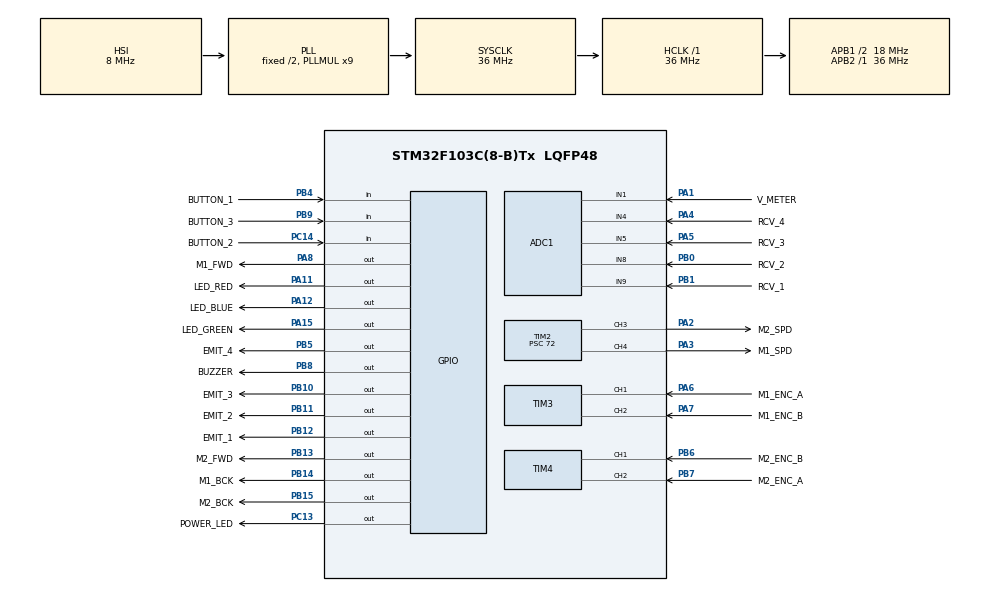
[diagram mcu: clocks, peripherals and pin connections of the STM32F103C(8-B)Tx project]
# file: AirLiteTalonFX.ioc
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ADC1.Channel-1\#ChannelRegularConversion=ADC_CHANNEL_1
ADC1.NbrOfConversionFlag=1
ADC1.Rank-1\#ChannelRegularConversion=1
ADC1.SamplingTime-1\#ChannelRegularConversion=ADC_SAMPLETIME_1CYCLE_5
ADC1.master=1
Mcu.Family=STM32F1
Mcu.Name=STM32F103C(8-B)Tx
Mcu.Package=LQFP48
NVIC.PriorityGroup=NVIC_PRIORITYGROUP_4
NVIC.TIM3_IRQn=true\:0\:0\:false\:false\:true\:true\:true\:true
NVIC.TIM4_IRQn=true\:0\:0\:false\:false\:true\:true\:true\:true
PA1.GPIO_Label=V_METER
PA1.Signal=ADCx_IN1
PA11.GPIO_Label=LED_RED
PA11.GPIO_PuPd=GPIO_PULLUP
PA11.Signal=GPIO_Output
PA12.GPIO_Label=LED_BLUE
PA12.GPIO_PuPd=GPIO_PULLUP
PA12.Signal=GPIO_Output
PA13.Mode=Serial_Wire
PA13.Signal=SYS_JTMS-SWDIO
PA14.Mode=Serial_Wire
PA14.Signal=SYS_JTCK-SWCLK
PA15.GPIO_Label=LED_GREEN
PA15.GPIO_PuPd=GPIO_PULLUP
PA15.Signal=GPIO_Output
PA2.GPIO_Label=M2_SPD
PA2.Signal=S_TIM2_CH3
PA3.GPIO_Label=M1_SPD
PA3.Signal=S_TIM2_CH4
PA4.GPIO_Label=RCV_4
PA4.Signal=ADCx_IN4
PA5.GPIO_Label=RCV_3
PA5.Signal=ADCx_IN5
PA6.GPIO_Label=M1_ENC_A
PA6.Signal=S_TIM3_CH1
PA7.GPIO_Label=M1_ENC_B
PA7.Signal=S_TIM3_CH2
PA8.GPIO_Label=M1_FWD
PA8.Signal=GPIO_Output
PB0.GPIO_Label=RCV_2
PB0.Signal=ADCx_IN8
PB1.GPIO_Label=RCV_1
PB1.Signal=ADCx_IN9
PB10.GPIO_Label=EMIT_3
PB10.Signal=GPIO_Output
PB11.GPIO_Label=EMIT_2
PB11.Signal=GPIO_Output
PB12.GPIO_Label=EMIT_1
PB12.Signal=GPIO_Output
PB13.GPIO_Label=M2_FWD
PB13.Signal=GPIO_Output
PB14.GPIO_Label=M1_BCK
PB14.Signal=GPIO_Output
PB15.GPIO_Label=M2_BCK
PB15.Signal=GPIO_Output
PB4.GPIO_Label=BUTTON_1
PB4.Signal=GPIO_Input
PB5.GPIO_Label=EMIT_4
PB5.Signal=GPIO_Output
PB6.GPIO_Label=M2_ENC_B
PB6.Signal=S_TIM4_CH1
PB7.GPIO_Label=M2_ENC_A
PB7.Signal=S_TIM4_CH2
PB8.GPIO_Label=BUZZER
PB8.Signal=GPIO_Output
PB9.GPIO_Label=BUTTON_3
PB9.Signal=GPIO_Input
PC13-TAMPER-RTC.GPIO_Label=POWER_LED
PC13-TAMPER-RTC.GPIO_PuPd=GPIO_PULLDOWN
PC13-TAMPER-RTC.Signal=GPIO_Output
PC14-OSC32_IN.GPIO_Label=BUTTON_2
PC14-OSC32_IN.Signal=GPIO_Input
ProjectManager.HeapSize=0x200
ProjectManager.StackSize=0x400
ProjectManager.TargetToolchain=STM32CubeIDE
RCC.ADCPresc=RCC_ADCPCLK2_DIV6
RCC.AHBFreq_Value=36000000
RCC.APB1CLKDivider=RCC_HCLK_DIV2
RCC.APB1Freq_Value=18000000
RCC.APB1TimFreq_Value=36000000
RCC.APB2Freq_Value=36000000
RCC.APB2TimFreq_Value=36000000
RCC.HCLKFreq_Value=36000000
RCC.PLLMUL=RCC_PLL_MUL9
RCC.SYSCLKFreq_VALUE=36000000
RCC.SYSCLKSource=RCC_SYSCLKSOURCE_PLLCLK
RCC.USBFreq_Value=36000000
SH.ADCx_IN1.0=ADC1_IN1,IN1
SH.ADCx_IN4.0=ADC1_IN4,IN4
SH.ADCx_IN5.0=ADC1_IN5,IN5
SH.ADCx_IN8.0=ADC1_IN8,IN8
SH.ADCx_IN9.0=ADC1_IN9,IN9
SH.S_TIM2_CH3.0=TIM2_CH3,PWM Generation3 CH3
SH.S_TIM2_CH4.0=TIM2_CH4,PWM Generation4 CH4
SH.S_TIM3_CH1.0=TIM3_CH1,Encoder_Interface
SH.S_TIM3_CH2.0=TIM3_CH2,Encoder_Interface
SH.S_TIM4_CH1.0=TIM4_CH1,Encoder_Interface
SH.S_TIM4_CH2.0=TIM4_CH2,Encoder_Interface
TIM2.Channel-PWM\ Generation3\ CH3=TIM_CHANNEL_3
TIM2.Channel-PWM\ Generation4\ CH4=TIM_CHANNEL_4
TIM2.Period=1000
TIM2.Prescaler=72
TIM2.Pulse-PWM\ Generation3\ CH3=1024
TIM2.Pulse-PWM\ Generation4\ CH4=1024
TIM3.EncoderMode=TIM_ENCODERMODE_TI12
TIM3.IC1Polarity=TIM_ICPOLARITY_FALLING
TIM3.IC2Polarity=TIM_ICPOLARITY_FALLING
TIM4.EncoderMode=TIM_ENCODERMODE_TI12
TIM4.IC1Polarity=TIM_ICPOLARITY_FALLING
TIM4.IC2Polarity=TIM_ICPOLARITY_FALLING
VP_TIM2_VS_ClockSourceINT.Mode=Internal
board=custom

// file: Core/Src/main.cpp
/* USER CODE BEGIN Header */
/**
  ******************************************************************************
  * @file           : main.c
  * @brief          : Main program body
  ******************************************************************************
  * @attention
  *
  * Copyright (c) 2025 STMicroelectronics.
  * All rights reserved.
  *
  * This software is licensed under terms that can be found in the LICENSE file
  * in the root directory of this software component.
  * If no LICENSE file comes with this software, it is provided AS-IS.
  *
  ******************************************************************************
  */
/* USER CODE END Header */
#include "main.h"
#include "math.h"
#include "encoders.h"
#include "motor.h"
#include "vsens.h"
#include "dsens.h"
#include "motionprofile.h"
#include "PIDFF.h"
#include "differentialdrive.h"
#include "FloodFill.h"

ADC_HandleTypeDef hadc1;

TIM_HandleTypeDef htim2;
TIM_HandleTypeDef htim3;
TIM_HandleTypeDef htim4;

/* USER CODE BEGIN PV */
Encoder leftEncoder(&htim3, false, 0.151843644924);
Encoder rightEncoder(&htim4, false, 0.151843644924);
Motor leftMotor(M1_FWD_GPIO_Port, M1_BCK_GPIO_Port, M1_FWD_Pin, M1_BCK_Pin, &TIM2->CCR4, &htim2, TIM_CHANNEL_3, false);
Motor rightMotor(M2_FWD_GPIO_Port, M2_BCK_GPIO_Port, M2_FWD_Pin, M2_BCK_Pin, &TIM2->CCR3, &htim2, TIM_CHANNEL_4, true);
VSens vsens(&hadc1, ADC_CHANNEL_1);

DSens flSens(EMIT_1_GPIO_Port, EMIT_1_Pin, &hadc1, ADC_CHANNEL_9, FL_FACTOR, FL_POW);
DSens lSens(EMIT_2_GPIO_Port, EMIT_2_Pin, &hadc1, ADC_CHANNEL_8, L_FACTOR, L_POW);
DSens rSens(EMIT_3_GPIO_Port, EMIT_3_Pin, &hadc1, ADC_CHANNEL_5, R_FACTOR, R_POW);
DSens frSens(EMIT_4_GPIO_Port, EMIT_4_Pin, &hadc1, ADC_CHANNEL_4, FR_FACTOR, FR_POW);

PIDFF centeringPID(0.005, 0, 0, 0);

PIDFF leftPIDFF(0.003, 0, LEFT_KV, LEFT_KS);
PIDFF rightPIDFF(0.003, 0, RIGHT_KV, RIGHT_KS);

DifferentialDrive diffy(50);

/* USER CODE END PV */

void SystemClock_Config(void);
static void MX_GPIO_Init(void);
static void MX_ADC1_Init(void);
static void MX_TIM4_Init(void);
static void MX_TIM3_Init(void);
static void MX_TIM2_Init(void);

/* USER CODE BEGIN 0 */

void HAL_TIM_IC_CaptureCallback(TIM_HandleTypeDef *htim) {
	uint32_t currentCount = __HAL_TIM_GET_COUNTER(htim);
	leftEncoder.callback(htim, currentCount);
	rightEncoder.callback(htim, currentCount);
}

uint32_t lastTick = 0;
uint32_t curTick = 0;
uint32_t rawStartTick = 0;
uint32_t rawCurTick = 0;
uint32_t dt = 0;

float lastTheta = 0;
float theta = 0;

//float spedL[1000];
//float spedR[1000];
uint64_t ticks = 0;

MotionProfileState nextState = {0};

typedef enum {
	STOP,
	DFORWARD,
	DLEFT,
	DRIGHT,
	DSFORWARD,
	DUTURN
} Action;

typedef struct {
	float velo;
	float thetaVelo;
	bool complete;
	bool useWallCorrection;
} DiffyState;

typedef struct {
    int x = 0;
    int y = 0;
} Position;

bool forwardOneBoxInit = true;
float forwardOneBoxLPos = 0;
float forwardOneBoxRPos = 0;

MapNode race_map[MAP_SIZE][MAP_SIZE];

Position last_position = Position();
Position position =  Position();
Orientation orientation = NORTH;

DiffyState forwardOneBox(uint32_t dt) {
	if (forwardOneBoxInit) {
		forwardOneBoxLPos = leftEncoder.getPositionMeters();
		forwardOneBoxRPos = rightEncoder.getPositionMeters();

		last_position = position;

		switch (orientation) {
			case NORTH:
				position.y++;
				break;
			case EAST:
				position.x++;
				break;
			case SOUTH:
				position.y--;
				break;
			case WEST:
				position.x--;
				break;
		}

	}
	forwardOneBoxInit = false;

	DiffyState state = {0};
	state.useWallCorrection = true;
	float avgPosMeters = ((leftEncoder.getPositionMeters() - forwardOneBoxLPos) + (rightEncoder.getPositionMeters() - forwardOneBoxRPos)) / 2;
	MotionProfileState currentState = {avgPosMeters, (leftEncoder.getVeloMeters() + rightEncoder.getVeloMeters()) / 2, };
	MotionProfileState goalState = {180, 0};
	MotionProfileState nextState =  calculate_next_state(dt * 0.001, currentState, goalState, {200, 700});

	state.velo = nextState.velocity;

//	if (nextState.velocity <= 10) { /* abs(nextState.position - avgPosMeters) < 10 &&  */
//		state.complete = true;
//	}

	state.complete = is_finished(currentState, goalState, 30);

	return state;
}

Orientation rotate_orientation_left(Orientation orientation) {
    if (orientation == NORTH) {
        orientation = WEST;
        return orientation;
    }

    orientation = static_cast<Orientation>(orientation - 1);

    return orientation;
}

Orientation rotate_orientation_right(Orientation orientation) {
    if (orientation == WEST) {
        orientation = NORTH;
        return orientation;
    }

    orientation = static_cast<Orientation>(orientation + 1);

    return orientation;
}

bool rotateInit = true;
DiffyState rotate(uint32_t dt, bool left) {
	if (rotateInit) {
		// On init rotate the rotation state
		if (left) {
			orientation = rotate_orientation_left(orientation);
		} else {
			orientation = rotate_orientation_right(orientation);
		}
	}

	DiffyState state = {0};
	state.useWallCorrection = false;
	MotionProfileState currentState;
	  if (!rotateInit) {
		  currentState = {nextState.position, nextState.velocity};
	  } else {
		  currentState = {0, 0};
	  }
		rotateInit = false;
		MotionProfileState goalState = {(left ? -1 : 1) * 3.141592/2, 0};
	  nextState = calculate_next_state(dt * 0.001, currentState, goalState, {3.141592, 3.141592*4});

	state.thetaVelo = nextState.velocity;

	/*if (nextState.velocity <= 0.3141592) {
		state.complete = true;
	}*/

	state.complete = is_finished(currentState, goalState, 3.141592 / 8);

	return state;
}

bool rotate2Init = true;
DiffyState rotate2(uint32_t dt) {

	DiffyState state = {0};
	state.useWallCorrection = false;
	MotionProfileState currentState;
	  if (!rotateInit) {
		  currentState = {nextState.position, nextState.velocity};
	  } else {
		  currentState = {0, 0};
	  }
		rotateInit = false;
		MotionProfileState goalState = {3.141592, 0};
	  nextState = calculate_next_state(dt * 0.001, currentState, goalState, {3.141592, 3.141592*4});

	state.thetaVelo = nextState.velocity;

	/*if (nextState.velocity <= 0.3141592) {
		state.complete = true;
	}*/

	state.complete = is_finished(currentState, goalState, 3.141592 / 8);

	return state;
}

Action actionState = DSFORWARD;
Action enqueuedAction = DUTURN;

/* USER CODE END 0 */

int main(void)
{

  /* MCU Configuration--------------------------------------------------------*/

  /* Reset of all peripherals, Initializes the Flash interface and the Systick. */
  HAL_Init();

  /* Configure the system clock */
  SystemClock_Config();

  /* Initialize all configured peripherals */
  MX_GPIO_Init();
  MX_ADC1_Init();
  MX_TIM4_Init();
  MX_TIM3_Init();
  MX_TIM2_Init();
  /* USER CODE BEGIN 2 */
  HAL_TIM_Base_Start(&htim2);

  //altfx_init();
  HAL_Delay(2000);

  // Initial floodfill logic
  generate_map(race_map);
  propogate_race_distances(race_map);

  rawStartTick = HAL_GetTick();

  leftEncoder.init();
  rightEncoder.init();

  leftMotor.init();
  rightMotor.init();

  leftMotor.brakeMode = false;
  rightMotor.brakeMode = false;

  leftMotor.set(0);
  rightMotor.set(0);

  vsens.init();
  while (!vsens.poll());
  vsens.getVolts();

  /* USER CODE END 2 */

  /* Infinite loop */
  /* USER CODE BEGIN WHILE */

  //MotionProfile profile = generate_profile(200, 700, 180, 0, 0);

  bool init = true;
  lastTick = 0;
  while (1) {
	  if (init) {
		  lastTick = HAL_GetTick() - rawStartTick;
	  }

	  flSens.updateSens();
	  flSens.getDist();
	  lSens.updateSens();
	  lSens.getDist();
	  rSens.updateSens();
	  rSens.getDist();
	  frSens.updateSens();
	  frSens.getDist();
	  vsens.poll();
	  vsens.getVolts();
	  vsens.getCompMult();

	  leftEncoder.tick();
	  rightEncoder.tick();
	  rawCurTick = HAL_GetTick();
	  curTick = rawCurTick - rawStartTick;
	  uint32_t dt = curTick - lastTick;

	  float leftDelta = leftEncoder.getPositionMeters() - leftEncoder.getLastPositionMeters();
	  float rightDelta = rightEncoder.getPositionMeters() - rightEncoder.getLastPositionMeters();

	  float dTheta = (rightDelta - leftDelta) / diffy._rad;
	  theta += dTheta;

//	  HAL_GPIO_TogglePin(POWER_LED_GPIO_Port, POWER_LED_Pin);

	  //float v = profile_velo_wrt_t(rawCurTick * 0.001, startTime * 0.001, profile);

	 /* MotionProfileState currentState;
	  if (!init) {
		  currentState = {nextState.position, nextState.velocity};
	  } else {
		  currentState = {0, 0};
	  }
	  nextState = calculate_next_state(dt * 0.001, currentState, {3.141592 * 2, 0}, {3.141592, 3.141592*4});*/
//	  DiffyState targetState;
//	  if (actionState == DSFORWARD) {
//		  targetState = {500, 0, false, true};
//		  if (flSens.getDist() <= FL_THRESH && frSens.getDist() <= FR_THRESH) {
//				targetState.complete = true;
//		  }
//		  enqueuedAction = DUTURN;
//	  }
//	  else if (actionState == DUTURN) {
//		  targetState = rotate2(dt);
//		  enqueuedAction = DSFORWARD;
//	  }
//	  else if (actionState == DFORWARD) {
//		  targetState = forwardOneBox(dt);
//		  enqueuedAction = STOP;
//	  } else if (actionState == DLEFT) {
//		  targetState = rotate(dt, true);
//		  enqueuedAction = DFORWARD;
//	  } else if (actionState == DRIGHT) {
//		  targetState = rotate(dt, false);
//		  enqueuedAction = DFORWARD;
//	  } else if (actionState == STOP) {
//		  //targetState = {0, 0, true, true};
//		  if (lSens.getDist() <= LEFT_THRESH) {
//	            Orientation rotated_orientation = rotate_orientation_left(orientation);
//	            sever_path(&race_map[position.x][position.y], rotated_orientation);
//		  }
//
//		  if (rSens.getDist() <= RIGHT_THRESH) {
//	            Orientation rotated_orientation = rotate_orientation_right(orientation);
//	            sever_path(&race_map[position.x][position.y], rotated_orientation);
//		  }
//
//
//		  if (flSens.getDist() <= FL_THRESH && frSens.getDist() <= FR_THRESH) {
//	            sever_path(&race_map[position.x][position.y], orientation);
//		  }
//
//
//	        map_node(&race_map[position.x][position.y]);
//
//	        /*if (race_map[position.x][position.y].distance == 0) {
//				state = REHOMING;
//				break;
//			}*/
//
//	        Orientation target_dir = get_most_optimal_node_connection(&race_map[position.x][position.y], true, false).connection_orientation;
//		   int delta_theta = orientation - target_dir; // + means turn left | - means turn right
//
//		   if (abs(delta_theta) > 2) delta_theta = signbit(delta_theta) ? 1 : -1;
//
//		   if (delta_theta == 1) {
//			   actionState = DLEFT;
//		   } else if (delta_theta == -1) {
//			   actionState = DRIGHT;
//		   } else {
//			   actionState = DFORWARD;
//		   }
//
//	  }
//
//	  if (targetState.complete) {
//		  actionState = enqueuedAction;
//		  enqueuedAction = STOP;
//		  rotateInit = true;
//		  forwardOneBoxInit = true;
//	  }
//	  DiffyState targetState = {300, 0, false};

	  //DifferentialDrive::WheelSpeeds speeds = diffy.drive(newState.velocity, centeringPID.calculate(0, rSens.getDist() - lSens.getDist()));
	  /*DifferentialDrive::WheelSpeeds speeds = diffy.drive(targetState.velo, targetState.thetaVelo + ((targetState.useWallCorrection ? 1 : 0) * (centeringPID.calculate(0, rSens.getDist() - lSens.getDist())))); // 3.141592 * 2

	  leftMotor.set(leftPIDFF.calculate(speeds.lv, leftEncoder.getVeloMeters()) * vsens.getCompMult());
	  rightMotor.set(rightPIDFF.calculate(speeds.rv, rightEncoder.getVeloMeters()) * vsens.getCompMult());
*/
//	  leftMotor.set(leftPIDFF.calculate(0, leftEncoder.getVeloMeters()) * vsens.getCompMult());
//	  rightMotor.set(rightPIDFF.calculate(0, rightEncoder.getVeloMeters()) * vsens.getCompMult());
	  leftMotor.set(0);
	  rightMotor.set(0);
	  lastTick = curTick;
	  lastTheta = theta;
	  init = false;

  /*leftMotor.set(0);
  rightMotor.set(0); //\frac{1}{50\cdot12}\cdot2\pi\cdot\frac{29}{2}

  while (1)
  {
	  leftEncoder.tick();
	  rightEncoder.tick();
	  rawCurTick = HAL_GetTick();
	  curTick = rawCurTick - rawStartTick;

	  DifferentialDrive::WheelSpeeds speeds = diffy.drive(0, 2 * 3.14159264);

	  leftMotor.set(leftPIDFF.calculate(speeds.lv, leftEncoder.getVeloMeters()) * vsens.getCompMult());
	  rightMotor.set(rightPIDFF.calculate(speeds.rv, rightEncoder.getVeloMeters()) * vsens.getCompMult());*/
	  /*leftMotor.set(0.1);
	  rightMotor.set(0.1);

	  if (curTick > 2000 && curTick <= 4000) {
		  leftMotor.set(0.2);
		  rightMotor.set(0.2);
	  } else if (curTick > 4000 && curTick <= 6000) {
		  leftMotor.set(0.3);
		  rightMotor.set(0.3);
	  } else if (curTick > 6000 && curTick <= 8000) {
		  leftMotor.set(0.4);
		  rightMotor.set(0.4);
	  } else if (curTick > 8000 && curTick <= 10000) {
		  leftMotor.set(0.5);
		  rightMotor.set(0.5);
	  } else if (curTick > 10000 && curTick <= 12000) {
		  leftMotor.set(0.6);
		  rightMotor.set(0.6);
	  } else if (curTick > 12000 && curTick <= 14000) {
		  leftMotor.set(0.7);
		  rightMotor.set(0.7);
	  } else if (curTick > 14000) {
		  leftMotor.set(0);
		  rightMotor.set(0);
		  leftEncoder.getPositionMeters();
	  }*/

//	  spedL[ticks] = leftEncoder.getVeloMeters();
//	  spedR[ticks] = rightEncoder.getVeloMeters();
	  ticks++;

	  dt = curTick - lastTick;

	//altfx_loop();
    /* USER CODE END WHILE */

  }
}

void SystemClock_Config(void)
{
  RCC_OscInitTypeDef RCC_OscInitStruct = {0};
  RCC_ClkInitTypeDef RCC_ClkInitStruct = {0};
  RCC_PeriphCLKInitTypeDef PeriphClkInit = {0};

  /** Initializes the RCC Oscillators according to the specified parameters
  * in the RCC_OscInitTypeDef structure.
  */
  RCC_OscInitStruct.OscillatorType = RCC_OSCILLATORTYPE_HSI;
  RCC_OscInitStruct.HSIState = RCC_HSI_ON;
  RCC_OscInitStruct.HSICalibrationValue = RCC_HSICALIBRATION_DEFAULT;
  RCC_OscInitStruct.PLL.PLLState = RCC_PLL_ON;
  RCC_OscInitStruct.PLL.PLLSource = RCC_PLLSOURCE_HSI_DIV2;
  RCC_OscInitStruct.PLL.PLLMUL = RCC_PLL_MUL9;
  if (HAL_RCC_OscConfig(&RCC_OscInitStruct) != HAL_OK)
  {
	Error_Handler();
  }

  /** Initializes the CPU, AHB and APB buses clocks
  */
  RCC_ClkInitStruct.ClockType = RCC_CLOCKTYPE_HCLK|RCC_CLOCKTYPE_SYSCLK
							  |RCC_CLOCKTYPE_PCLK1|RCC_CLOCKTYPE_PCLK2;
  RCC_ClkInitStruct.SYSCLKSource = RCC_SYSCLKSOURCE_PLLCLK;
  RCC_ClkInitStruct.AHBCLKDivider = RCC_SYSCLK_DIV1;
  RCC_ClkInitStruct.APB1CLKDivider = RCC_HCLK_DIV2;
  RCC_ClkInitStruct.APB2CLKDivider = RCC_HCLK_DIV1;

  if (HAL_RCC_ClockConfig(&RCC_ClkInitStruct, FLASH_LATENCY_1) != HAL_OK)
  {
	Error_Handler();
  }
  PeriphClkInit.PeriphClockSelection = RCC_PERIPHCLK_ADC;
  PeriphClkInit.AdcClockSelection = RCC_ADCPCLK2_DIV6;
  if (HAL_RCCEx_PeriphCLKConfig(&PeriphClkInit) != HAL_OK)
  {
	Error_Handler();
  }
}

static void MX_ADC1_Init(void)
{

  /** Common config
  */
  hadc1.Instance = ADC1;
  hadc1.Init.ScanConvMode = ADC_SCAN_DISABLE;
  hadc1.Init.ContinuousConvMode = DISABLE;
  hadc1.Init.DiscontinuousConvMode = DISABLE;
  hadc1.Init.ExternalTrigConv = ADC_SOFTWARE_START;
  hadc1.Init.DataAlign = ADC_DATAALIGN_RIGHT;
  hadc1.Init.NbrOfConversion = 1;
  if (HAL_ADC_Init(&hadc1) != HAL_OK)
  {
    Error_Handler();
  }

  /** Configure Regular Channel

  sConfig.Channel = ADC_CHANNEL_1;
  sConfig.Rank = ADC_REGULAR_RANK_1;
  sConfig.SamplingTime = ADC_SAMPLETIME_1CYCLE_5;
  if (HAL_ADC_ConfigChannel(&hadc1, &sConfig) != HAL_OK)
  {
    Error_Handler();
  }*/

}

static void MX_TIM2_Init(void)
{

  TIM_ClockConfigTypeDef sClockSourceConfig = {0};
  TIM_MasterConfigTypeDef sMasterConfig = {0};
  TIM_OC_InitTypeDef sConfigOC = {0};

  htim2.Instance = TIM2;
  htim2.Init.Prescaler = 72;
  htim2.Init.CounterMode = TIM_COUNTERMODE_UP;
  htim2.Init.Period = 1000;
  htim2.Init.ClockDivision = TIM_CLOCKDIVISION_DIV1;
  htim2.Init.AutoReloadPreload = TIM_AUTORELOAD_PRELOAD_DISABLE;
  if (HAL_TIM_Base_Init(&htim2) != HAL_OK)
  {
    Error_Handler();
  }
  sClockSourceConfig.ClockSource = TIM_CLOCKSOURCE_INTERNAL;
  if (HAL_TIM_ConfigClockSource(&htim2, &sClockSourceConfig) != HAL_OK)
  {
    Error_Handler();
  }
  if (HAL_TIM_PWM_Init(&htim2) != HAL_OK)
  {
    Error_Handler();
  }
  sMasterConfig.MasterOutputTrigger = TIM_TRGO_RESET;
  sMasterConfig.MasterSlaveMode = TIM_MASTERSLAVEMODE_DISABLE;
  if (HAL_TIMEx_MasterConfigSynchronization(&htim2, &sMasterConfig) != HAL_OK)
  {
    Error_Handler();
  }
  sConfigOC.OCMode = TIM_OCMODE_PWM1;
  sConfigOC.Pulse = 1024;
  sConfigOC.OCPolarity = TIM_OCPOLARITY_HIGH;
  sConfigOC.OCFastMode = TIM_OCFAST_DISABLE;
  if (HAL_TIM_PWM_ConfigChannel(&htim2, &sConfigOC, TIM_CHANNEL_3) != HAL_OK)
  {
    Error_Handler();
  }
  if (HAL_TIM_PWM_ConfigChannel(&htim2, &sConfigOC, TIM_CHANNEL_4) != HAL_OK)
  {
    Error_Handler();
  }
  HAL_TIM_MspPostInit(&htim2);

}

static void MX_TIM3_Init(void)
{

  TIM_Encoder_InitTypeDef sConfig = {0};
  TIM_MasterConfigTypeDef sMasterConfig = {0};

  htim3.Instance = TIM3;
  htim3.Init.Prescaler = 0;
  htim3.Init.CounterMode = TIM_COUNTERMODE_UP;
  htim3.Init.Period = 65535;
  htim3.Init.ClockDivision = TIM_CLOCKDIVISION_DIV1;
  htim3.Init.AutoReloadPreload = TIM_AUTORELOAD_PRELOAD_DISABLE;
  sConfig.EncoderMode = TIM_ENCODERMODE_TI12;
  sConfig.IC1Polarity = TIM_ICPOLARITY_FALLING;
  sConfig.IC1Selection = TIM_ICSELECTION_DIRECTTI;
  sConfig.IC1Prescaler = TIM_ICPSC_DIV1;
  sConfig.IC1Filter = 0;
  sConfig.IC2Polarity = TIM_ICPOLARITY_FALLING;
  sConfig.IC2Selection = TIM_ICSELECTION_DIRECTTI;
  sConfig.IC2Prescaler = TIM_ICPSC_DIV1;
  sConfig.IC2Filter = 0;
  if (HAL_TIM_Encoder_Init(&htim3, &sConfig) != HAL_OK)
  {
    Error_Handler();
  }
  sMasterConfig.MasterOutputTrigger = TIM_TRGO_RESET;
  sMasterConfig.MasterSlaveMode = TIM_MASTERSLAVEMODE_DISABLE;
  if (HAL_TIMEx_MasterConfigSynchronization(&htim3, &sMasterConfig) != HAL_OK)
  {
    Error_Handler();
  }

}

static void MX_TIM4_Init(void)
{

  TIM_Encoder_InitTypeDef sConfig = {0};
  TIM_MasterConfigTypeDef sMasterConfig = {0};

  htim4.Instance = TIM4;
  htim4.Init.Prescaler = 0;
  htim4.Init.CounterMode = TIM_COUNTERMODE_UP;
  htim4.Init.Period = 65535;
  htim4.Init.ClockDivision = TIM_CLOCKDIVISION_DIV1;
  htim4.Init.AutoReloadPreload = TIM_AUTORELOAD_PRELOAD_DISABLE;
  sConfig.EncoderMode = TIM_ENCODERMODE_TI12;
  sConfig.IC1Polarity = TIM_ICPOLARITY_FALLING;
  sConfig.IC1Selection = TIM_ICSELECTION_DIRECTTI;
  sConfig.IC1Prescaler = TIM_ICPSC_DIV1;
  sConfig.IC1Filter = 0;(leftPIDFF.calculate(0, leftEncoder.getVeloMeters()) * vsens.getCompMult());
  //	  rightMotor.se
  sConfig.IC2Polarity = TIM_ICPOLARITY_FALLING;
  sConfig.IC2Selection = TIM_ICSELECTION_DIRECTTI;
  sConfig.IC2Prescaler = TIM_ICPSC_DIV1;
  sConfig.IC2Filter = 0;
  if (HAL_TIM_Encoder_Init(&htim4, &sConfig) != HAL_OK)
  {
    Error_Handler();
  }
  sMasterConfig.MasterOutputTrigger = TIM_TRGO_RESET;
  sMasterConfig.MasterSlaveMode = TIM_MASTERSLAVEMODE_DISABLE;
  if (HAL_TIMEx_MasterConfigSynchronization(&htim4, &sMasterConfig) != HAL_OK)
  {
    Error_Handler();
  }

}

static void MX_GPIO_Init(void)
{
  GPIO_InitTypeDef GPIO_InitStruct = {0};

  /* GPIO Ports Clock Enable */
  __HAL_RCC_GPIOC_CLK_ENABLE();
  __HAL_RCC_GPIOD_CLK_ENABLE();
  __HAL_RCC_GPIOA_CLK_ENABLE();
  __HAL_RCC_GPIOB_CLK_ENABLE();

  /*Configure GPIO pin Output Level */
  HAL_GPIO_WritePin(POWER_LED_GPIO_Port, POWER_LED_Pin, GPIO_PIN_RESET);

  /*Configure GPIO pin Output Level */
  HAL_GPIO_WritePin(GPIOB, EMIT_3_Pin|EMIT_2_Pin|EMIT_1_Pin|M2_FWD_Pin
                          |M1_BCK_Pin|M2_BCK_Pin|EMIT_4_Pin|BUZZER_Pin, GPIO_PIN_RESET);

  /*Configure GPIO pin Output Level */
  HAL_GPIO_WritePin(GPIOA, M1_FWD_Pin|LED_RED_Pin|LED_BLUE_Pin|LED_GREEN_Pin, GPIO_PIN_RESET);

  /*Configure GPIO pin : POWER_LED_Pin */
  GPIO_InitStruct.Pin = POWER_LED_Pin;
  GPIO_InitStruct.Mode = GPIO_MODE_OUTPUT_PP;
  GPIO_InitStruct.Pull = GPIO_PULLDOWN;
  GPIO_InitStruct.Speed = GPIO_SPEED_FREQ_LOW;
  HAL_GPIO_Init(POWER_LED_GPIO_Port, &GPIO_InitStruct);

  /*Configure GPIO pin : BUTTON_2_Pin */
  GPIO_InitStruct.Pin = BUTTON_2_Pin;
  GPIO_InitStruct.Mode = GPIO_MODE_INPUT;
  GPIO_InitStruct.Pull = GPIO_NOPULL;
  HAL_GPIO_Init(BUTTON_2_GPIO_Port, &GPIO_InitStruct);

  /*Configure GPIO pins : EMIT_3_Pin EMIT_2_Pin EMIT_1_Pin M2_FWD_Pin
                           M1_BCK_Pin M2_BCK_Pin EMIT_4_Pin BUZZER_Pin */
  GPIO_InitStruct.Pin = EMIT_3_Pin|EMIT_2_Pin|EMIT_1_Pin|M2_FWD_Pin
                          |M1_BCK_Pin|M2_BCK_Pin|EMIT_4_Pin|BUZZER_Pin;
  GPIO_InitStruct.Mode = GPIO_MODE_OUTPUT_PP;
  GPIO_InitStruct.Pull = GPIO_NOPULL;
  GPIO_InitStruct.Speed = GPIO_SPEED_FREQ_LOW;
  HAL_GPIO_Init(GPIOB, &GPIO_InitStruct);

  /*Configure GPIO pin : M1_FWD_Pin */
  GPIO_InitStruct.Pin = M1_FWD_Pin;
  GPIO_InitStruct.Mode = GPIO_MODE_OUTPUT_PP;
  GPIO_InitStruct.Pull = GPIO_NOPULL;
  GPIO_InitStruct.Speed = GPIO_SPEED_FREQ_LOW;
  HAL_GPIO_Init(M1_FWD_GPIO_Port, &GPIO_InitStruct);

  /*Configure GPIO pins : LED_RED_Pin LED_BLUE_Pin LED_GREEN_Pin */
  GPIO_InitStruct.Pin = LED_RED_Pin|LED_BLUE_Pin|LED_GREEN_Pin;
  GPIO_InitStruct.Mode = GPIO_MODE_OUTPUT_PP;
  GPIO_InitStruct.Pull = GPIO_PULLUP;
  GPIO_InitStruct.Speed = GPIO_SPEED_FREQ_LOW;
  HAL_GPIO_Init(GPIOA, &GPIO_InitStruct);

  /*Configure GPIO pins : BUTTON_1_Pin BUTTON_3_Pin */
  GPIO_InitStruct.Pin = BUTTON_1_Pin|BUTTON_3_Pin;
  GPIO_InitStruct.Mode = GPIO_MODE_INPUT;
  GPIO_InitStruct.Pull = GPIO_NOPULL;
  HAL_GPIO_Init(GPIOB, &GPIO_InitStruct);

}

void Error_Handler(void)
{
  __disable_irq();
  while (1)
  {
  }
}
